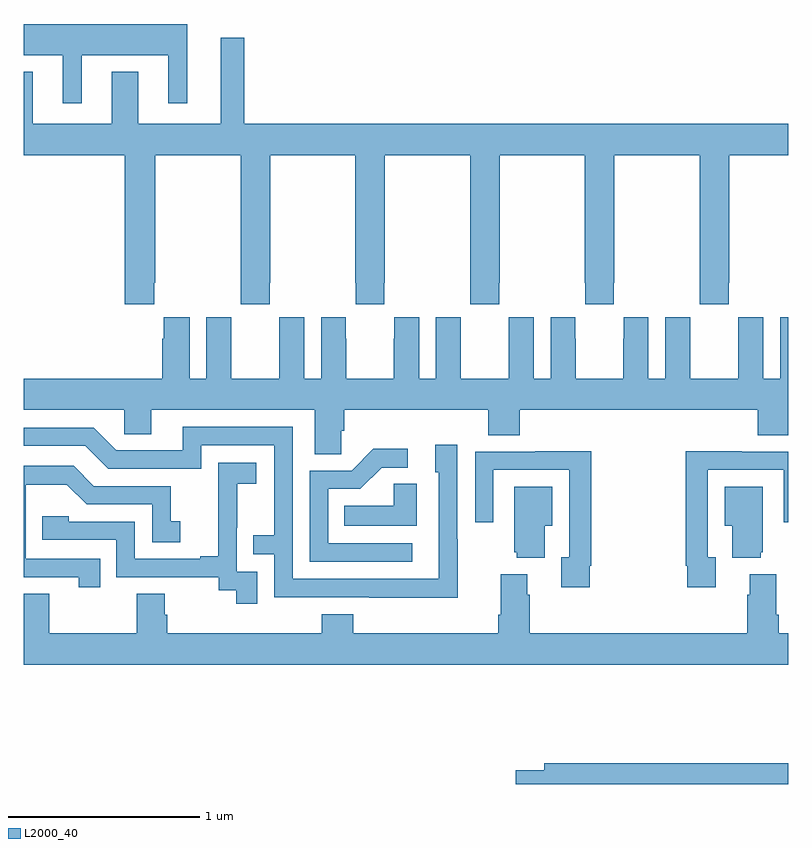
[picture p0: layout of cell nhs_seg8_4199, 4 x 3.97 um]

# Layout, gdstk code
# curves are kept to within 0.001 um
import gdstk
lib = gdstk.Library(unit=1e-6, precision=1e-09)
def P(c, l, *ps):  # polygons
    for p in ps: c.add(gdstk.Polygon(p, *l))
L2000_40 = (2000, 40)

nhs_seg8_4199 = lib.new_cell('nhs_seg8_4199')
P(nhs_seg8_4199, L2000_40, [(369.304,1095.71),(369.758,1095.71),(369.758,1095.459),(369.856,1095.459),(369.856,1095.874),(369,1095.874),(369,1095.71),(369.206,1095.71),(369.206,1095.459),(369.304,1095.459)],
  [(370.153,1095.802),(370.031,1095.802),(370.031,1095.352),(369.601,1095.352),(369.601,1095.625),(369.461,1095.625),(369.461,1095.352),(369.049,1095.352),(369.049,1095.625),(369,1095.625),(369,1095.188),(369.53,1095.188),(369.53,1094.409),(369.683,1094.409),(369.683,1094.521),(369.69,1094.521),(369.69,1095.188),(370.135,1095.188),(370.135,1094.521),(370.137,1094.521),(370.137,1094.409),(370.287,1094.409),(370.287,1094.521),(370.29,1094.521),(370.29,1095.188),(370.735,1095.188),(370.735,1094.521),(370.737,1094.521),(370.737,1094.409),(370.887,1094.409),(370.887,1094.521),(370.89,1094.521),(370.89,1095.188),(371.335,1095.188),(371.335,1094.521),(371.337,1094.521),(371.337,1094.409),(371.487,1094.409),(371.487,1094.521),(371.49,1094.521),(371.49,1095.188),(371.935,1095.188),(371.935,1094.521),(371.937,1094.521),(371.937,1094.409),(372.087,1094.409),(372.087,1094.521),(372.09,1094.521),(372.09,1095.188),(372.535,1095.188),(372.535,1094.521),(372.537,1094.521),(372.537,1094.409),(372.687,1094.409),(372.687,1094.521),(372.69,1094.521),(372.69,1095.188),(373,1095.188),(373,1095.352),(370.153,1095.352)],
  [(373,1094.341),(372.956,1094.341),(372.956,1094.02),(372.868,1094.02),(372.868,1094.341),(372.738,1094.341),(372.738,1094.228),(372.737,1094.228),(372.737,1094.02),(372.487,1094.02),(372.487,1094.228),(372.486,1094.228),(372.486,1094.341),(372.356,1094.341),(372.356,1094.02),(372.268,1094.02),(372.268,1094.341),(372.138,1094.341),(372.138,1094.228),(372.137,1094.228),(372.137,1094.02),(371.887,1094.02),(371.887,1094.228),(371.886,1094.228),(371.886,1094.341),(371.756,1094.341),(371.756,1094.02),(371.668,1094.02),(371.668,1094.341),(371.538,1094.341),(371.538,1094.228),(371.537,1094.228),(371.537,1094.02),(371.287,1094.02),(371.287,1094.228),(371.286,1094.228),(371.286,1094.341),(371.156,1094.341),(371.156,1094.02),(371.068,1094.02),(371.068,1094.341),(370.938,1094.341),(370.938,1094.228),(370.937,1094.228),(370.937,1094.02),(370.687,1094.02),(370.687,1094.228),(370.686,1094.228),(370.686,1094.341),(370.556,1094.341),(370.556,1094.02),(370.468,1094.02),(370.468,1094.341),(370.338,1094.341),(370.338,1094.228),(370.337,1094.228),(370.337,1094.02),(370.087,1094.02),(370.087,1094.228),(370.086,1094.228),(370.086,1094.341),(369.956,1094.341),(369.956,1094.02),(369.868,1094.02),(369.868,1094.341),(369.734,1094.341),(369.734,1094.228),(369.725,1094.228),(369.725,1094.02),(369,1094.02),(369,1093.856),(369.528,1093.856),(369.528,1093.729),(369.667,1093.729),(369.667,1093.856),(370.523,1093.856),(370.523,1093.624),(370.662,1093.624),(370.662,1093.747),(370.676,1093.747),(370.676,1093.856),(371.429,1093.856),(371.429,1093.723),(371.594,1093.723),(371.594,1093.856),(372.839,1093.856),(372.839,1093.723),(373,1093.723)],
  [(371.271,1093.181),(371.268,1093.181),(371.268,1093.675),(371.153,1093.675),(371.153,1093.53),(371.172,1093.53),(371.172,1092.972),(370.407,1092.972),(370.407,1093.767),(369.833,1093.767),(369.833,1093.644),(369.486,1093.644),(369.366,1093.764),(369,1093.764),(369,1093.668),(369.324,1093.668),(369.444,1093.548),(369.93,1093.548),(369.93,1093.671),(370.311,1093.671),(370.311,1093.202),(370.201,1093.202),(370.201,1093.101),(370.311,1093.101),(370.311,1092.876),(371.271,1092.875)],
  [(371.032,1093.158),(370.593,1093.158),(370.593,1093.443),(370.762,1093.443),(370.873,1093.554),(371.008,1093.554),(371.008,1093.652),(370.829,1093.652),(370.716,1093.539),(370.497,1093.539),(370.497,1093.062),(371.032,1093.062)],
  [(372.619,1093.086),(372.579,1093.086),(372.579,1093.542),(372.975,1093.542),(372.975,1093.269),(373,1093.269),(373,1093.638),(372.755,1093.638),(372.755,1093.64),(372.463,1093.64),(372.463,1093.042),(372.471,1093.042),(372.471,1092.93),(372.619,1092.93)],
  [(371.962,1093.042),(371.969,1093.042),(371.969,1093.64),(371.677,1093.64),(371.677,1093.638),(371.361,1093.638),(371.361,1093.269),(371.457,1093.269),(371.457,1093.542),(371.853,1093.542),(371.853,1093.086),(371.813,1093.086),(371.813,1092.93),(371.962,1092.93)],
  [(370.221,1093.011),(370.116,1093.011),(370.116,1093.241),(370.118,1093.241),(370.118,1093.469),(370.216,1093.469),(370.216,1093.579),(370.018,1093.579),(370.018,1093.373),(370.019,1093.373),(370.019,1093.09),(369.923,1093.09),(369.923,1093.077),(369.582,1093.077),(369.582,1093.272),(369.237,1093.272),(369.237,1093.299),(369.097,1093.299),(369.097,1093.176),(369.486,1093.176),(369.486,1092.981),(370.02,1092.981),(370.02,1092.913),(370.113,1092.913),(370.113,1092.843),(370.221,1092.843)],
  [(369.401,1093.077),(369.012,1093.077),(369.012,1093.466),(369.226,1093.466),(369.33,1093.362),(369.672,1093.362),(369.672,1093.164),(369.82,1093.164),(369.82,1093.273),(369.771,1093.273),(369.771,1093.458),(369.367,1093.458),(369.262,1093.563),(369,1093.563),(369,1092.981),(369.29,1092.981),(369.29,1092.93),(369.401,1092.93)],
  [(371.056,1093.469),(370.935,1093.469),(370.935,1093.354),(370.678,1093.354),(370.678,1093.25),(371.056,1093.25)],
  [(372.854,1093.113),(372.865,1093.113),(372.865,1093.453),(372.668,1093.453),(372.668,1093.25),(372.707,1093.25),(372.707,1093.082),(372.854,1093.082)],
  [(371.725,1093.25),(371.764,1093.25),(371.764,1093.453),(371.567,1093.453),(371.567,1093.113),(371.579,1093.113),(371.579,1093.082),(371.725,1093.082)],
  [(373,1092.688),(372.95,1092.688),(372.95,1092.784),(372.937,1092.784),(372.937,1092.997),(372.797,1092.997),(372.797,1092.89),(372.785,1092.89),(372.785,1092.688),(371.648,1092.688),(371.648,1092.89),(371.635,1092.89),(371.635,1092.997),(371.495,1092.997),(371.495,1092.784),(371.483,1092.784),(371.483,1092.688),(370.724,1092.688),(370.724,1092.787),(370.559,1092.787),(370.559,1092.688),(369.752,1092.688),(369.752,1092.786),(369.739,1092.786),(369.739,1092.896),(369.592,1092.896),(369.592,1092.688),(369.135,1092.688),(369.135,1092.896),(369,1092.896),(369,1092.524),(373,1092.524)],
  [(373,1092.008),(371.723,1092.008),(371.723,1091.972),(371.574,1091.972),(371.574,1091.9),(373,1091.9)])

lib.write_gds('nhs_seg8_4199.gds')
